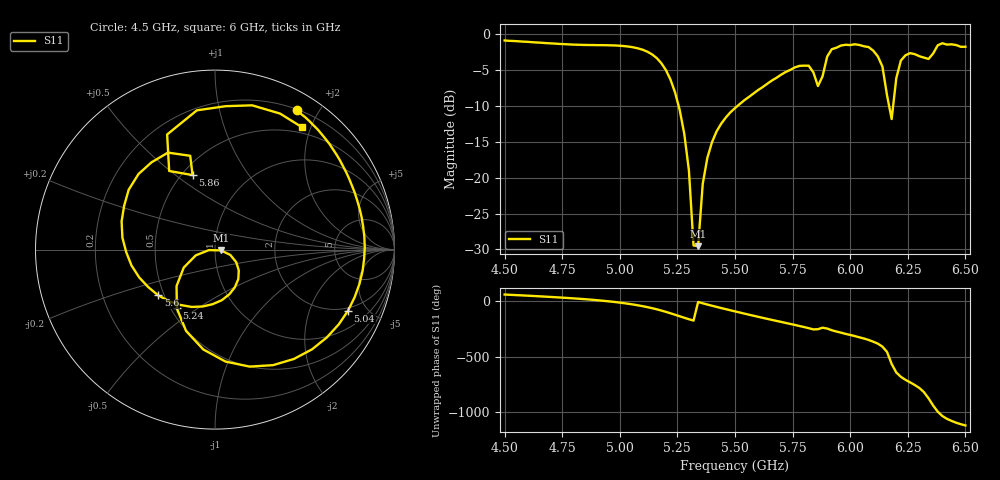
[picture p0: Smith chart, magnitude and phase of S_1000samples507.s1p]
! TOUCHSTONE file generated by CST MICROWAVE STUDIO
! Date and time: Fri Oct 28 10:04:01 2022
! Project name: L.cst
! Parameters = {Di=1.27; Epsilon_r=1.56; InnerDiameter=1.27; Length=2; Lf=10; Lg=60; OuterConductorThickness=0.2921; OuterDiameter=3.6; Wf=3; Wp=41.2; de=1.5; df=6.8; g=0.8; gx=1.87435; gy=0.591304; h=2.34; hf=1.524; px=8.34332; py=12.7208; w=9.7; wx=6.46897; wy=12.1295}
! Header version: 2018
! Port assignment regex: !\s*Touchstone port\s*([0-9]+)\s*=\s*(CST MWS port|CST DS port)\s*([0-9]+|Zmin|Zmax)\s*\(\"(.*)\"\)(\s*mode\s*([0-9]+))?.*
! Touchstone port assignment:
! Touchstone port 1 = CST MWS port 1 ("")
# GHz S DB R 50
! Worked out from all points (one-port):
!   101 points, 4.5 GHz to 6.5 GHz, reference 50 ohm
!   lowest |S11| = -29.5 dB at 5.34 GHz (marker M1), VSWR 1.07, Z = 53.4 - j0.46 ohm
!   |S11| at or under -10 dB: 5.255 GHz to 5.512 GHz (256.8 MHz wide, 4.77 % of centre); 6.168704 GHz to 6.186505 GHz (17.8 MHz wide, 0.288 % of centre)
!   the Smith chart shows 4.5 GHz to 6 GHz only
!   S11 on the Smith chart (normalised r, x): 4.5 GHz: 0.21, +1.72; 5.04 GHz: 1.83, -3.72; 5.24 GHz: 0.54, -0.42; 5.6 GHz: 0.46, -0.28; 5.86 GHz: 0.56, +0.58; 6 GHz: 0.41, +1.86
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4.5  -0.91 59.7
4.76  -1.43 30.5
5  -1.65 -13.3
5.04  -1.77 -24.7
5.16  -3.35 -73.5
5.24  -8.17 -123.0
5.26  -10.60 -136.5
5.32  -29.44 -175.4
5.34  -29.54 -7.4
5.38  -17.25 -30.6
5.5  -10.33 -92.5
5.6  -7.82 -141.2
5.76  -4.65 145.3
5.86  -7.26 106.8
5.9  -3.17 112.6
6  -1.55 54.8
6.08  -1.84 9.5
6.14  -4.56 -50.9
6.18  -11.85 152.6
6.2  -6.17 76.0
6.22  -3.70 36.4
6.26  -2.68 -13.4
6.32  -3.30 -101.6
6.34  -3.49 -157.5
6.36  -2.73 137.3
6.38  -1.58 81.9
6.42  -1.49 17.1
6.5  -1.79 -42.7
